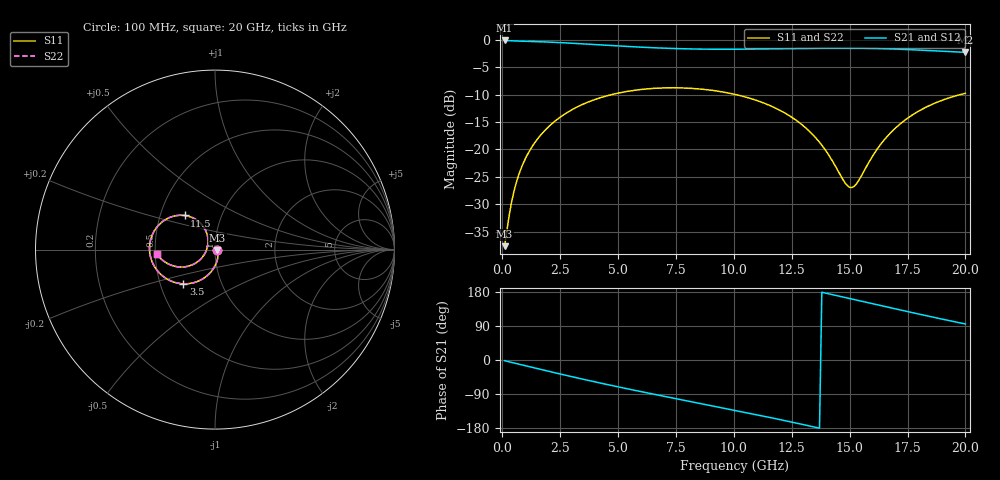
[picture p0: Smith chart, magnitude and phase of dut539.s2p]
! Touchstone file exported from HFSS 2026.1.0
!  File:  C:/ffzhzh/LocalFiles/Ansys_Project_Files/temp_train_TSV_RDL_539_1783113271_53076.aedt
!  Generated:  05:21:14 AM Jul  4, 2026
!  Design:  TSV_RDL
!  Project:  temp_train_TSV_RDL_539_1783113271_53076
! Variables:
!  h_bsmrdl = 5.89um
!  h_ox = 20um
!  h_rdl = 5um
!  h_sub = 94.1um
!  h_tmrdl = 4.09um
!  h_tsv = 94.1um
!  h_via = 3um
!  l_bsmrdl = 205.94um
!  l_sub = 4105.55um
!  l_tmrdl = 728.47um
!  m_sub = 200um
!  pitch = 31.62um
!  r_tsv = 14.27um
!  s_tmrdl = 10um
!  w_bsmrdl = 29.28um
!  w_sub = 500um
!  w_tmrdl = 28.67um
!  x_tsv_center1 = 742.805um
!  x_tsv_center2 = 978.025um
!  x_tsv_center3 = 1735.165um
!  x_tsv_center4 = 1970.385um
!  x_tsv_center5 = 2727.525um
!  x_tsv_center6 = 2962.745um
# GHz S MA R 50.000000
! Terminal data exported
! Port[1] = TM_RDL1_1_T1
! Port[2] = TM_RDL5_1_T1
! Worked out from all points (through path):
!   200 points, 100 MHz to 20 GHz, reference 50 ohm
!   highest |S21| = -0.11 dB at 100 MHz (marker M1); lowest = -2.3 dB at 20 GHz (marker M2)
!   group delay of S21, straight-line fit = 36.1 ps
!   lowest |S11| = -37.7 dB at 100 MHz (marker M3), VSWR 1.03, Z = 51.2 - j0.501 ohm
!   |S11| at or under -10 dB: start of sweep to 4.716 GHz; 10.1 GHz to 19.77 GHz (9.673 GHz wide, 64.8 % of centre)
!   |S22| runs from -37.7 to -8.8 dB; largest |S21 - S12| = 2.3e-14
!   S11 on the Smith chart (normalised r, x): 100 MHz: 1.02, -0.01; 3.5 GHz: 0.66, -0.27; 11.5 GHz: 0.67, +0.27; 20 GHz: 0.51, -0.03
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0.1  0.01308 -22.0  0.9877 -1.7  0.9877 -1.7  0.01308 -22.0
! Gamma 0 0 0 0
! Port Impedance 50 0 50 0
0.3  0.02516 -50.7  0.9823 -4.9  0.9823 -4.9  0.02516 -50.7
0.5  0.04111 -66.7  0.9781 -7.8  0.9781 -7.8  0.04111 -66.7
0.8  0.06604 -80.8  0.9739 -12.2  0.9739 -12.2  0.06604 -80.8
1.1  0.09074 -90.1  0.9699 -16.6  0.9699 -16.6  0.09074 -90.1
2.1  0.1685 -110.8  0.9528 -31.2  0.9528 -31.2  0.1685 -110.8
3.5  0.2593 -132.6  0.9191 -50.9  0.9191 -50.9  0.2593 -132.6
5.1  0.3297 -154.4  0.8777 -72.2  0.8777 -72.2  0.3296 -154.4
6.8  0.3631 -175.5  0.8427 -93.4  0.8427 -93.4  0.363 -175.6
8.4  0.3579 165.8  0.8245 -112.8  0.8245 -112.8  0.3579 165.7
10.1  0.3161 146.7  0.8213 -133.4  0.8213 -133.4  0.316 146.6
11.5  0.2545 131.7  0.8277 -150.9  0.8277 -150.9  0.2544 131.6
12.5  0.1967 122.2  0.8344 -163.9  0.8344 -163.9  0.1966 122.0
13.4  0.137 116.5  0.8396 -175.8  0.8396 -175.8  0.1369 116.3
14  0.09557 117.5  0.8417 176.0  0.8417 176.0  0.09533 117.2
14.8  0.04957 143.6  0.842 165.0  0.842 165.0  0.04916 143.3
15.1  0.04486 168.7  0.8412 160.9  0.8412 160.9  0.04442 168.7
15.3  0.04865 -174.7  0.8403 158.1  0.8403 158.1  0.04824 -174.5
16.1  0.09436 -146.7  0.8345 147.0  0.8345 147.0  0.09415 -146.5
16.7  0.1369 -145.4  0.8277 138.7  0.8277 138.7  0.1368 -145.2
18.1  0.2308 -155.6  0.8052 119.7  0.8052 119.7  0.2307 -155.5
20  0.3254 -175.6  0.7691 95.0  0.7691 95.0  0.3253 -175.6
